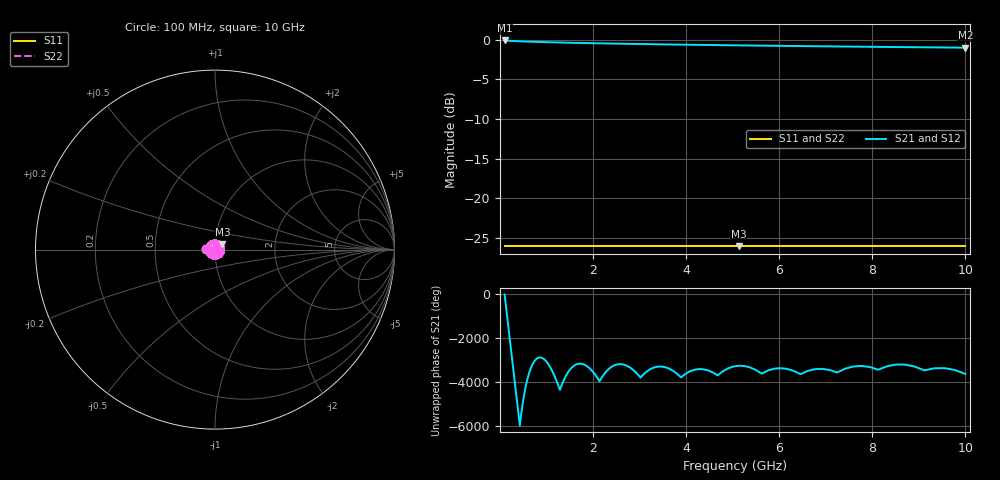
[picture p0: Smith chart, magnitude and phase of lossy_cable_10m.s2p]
! 10m lossy cable S-parameters
! Skin effect and dielectric loss modeled
# Hz S RI R 50
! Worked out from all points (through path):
!   201 points, 100 MHz to 10 GHz, reference 50 ohm
!   highest |S21| = -0.10 dB at 100 MHz (marker M1); lowest = -1.0 dB at 10 GHz (marker M2)
!   lowest |S11| = -26.0 dB at 5.129 GHz (marker M3), VSWR 1.11, Z = 54.2 + j3.13 ohm
!   |S11| at or under -10 dB: start of sweep to end of sweep
!   |S22| runs from -26.0 to -26.0 dB; largest |S21 - S12| = 0
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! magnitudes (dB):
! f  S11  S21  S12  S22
! 100 MHz  -26.0  -0.1  -0.1  -26.0
! 144.5 MHz  -26.0  -0.1  -0.1  -26.0
! 195 MHz  -26.0  -0.1  -0.1  -26.0
! 257 MHz  -26.0  -0.2  -0.2  -26.0
! 323.6 MHz  -26.0  -0.2  -0.2  -26.0
! 478.6 MHz  -26.0  -0.2  -0.2  -26.0
! 676.1 MHz  -26.0  -0.3  -0.3  -26.0
! 912 MHz  -26.0  -0.3  -0.3  -26.0
! 1.175 GHz  -26.0  -0.3  -0.3  -26.0
! 1.445 GHz  -26.0  -0.4  -0.4  -26.0
! 1.778 GHz  -26.0  -0.4  -0.4  -26.0
! 2.138 GHz  -26.0  -0.5  -0.5  -26.0
! 2.57 GHz  -26.0  -0.5  -0.5  -26.0
! 3.02 GHz  -26.0  -0.6  -0.6  -26.0
! 3.467 GHz  -26.0  -0.6  -0.6  -26.0
! 4.266 GHz  -26.0  -0.7  -0.7  -26.0
! 5.129 GHz  -26.0  -0.7  -0.7  -26.0
! 5.888 GHz  -26.0  -0.8  -0.8  -26.0
! 6.761 GHz  -26.0  -0.8  -0.8  -26.0
! 7.586 GHz  -26.0  -0.9  -0.9  -26.0
! 8.511 GHz  -26.0  -0.9  -0.9  -26.0
! 10 GHz  -26.0  -1.0  -1.0  -26.0
